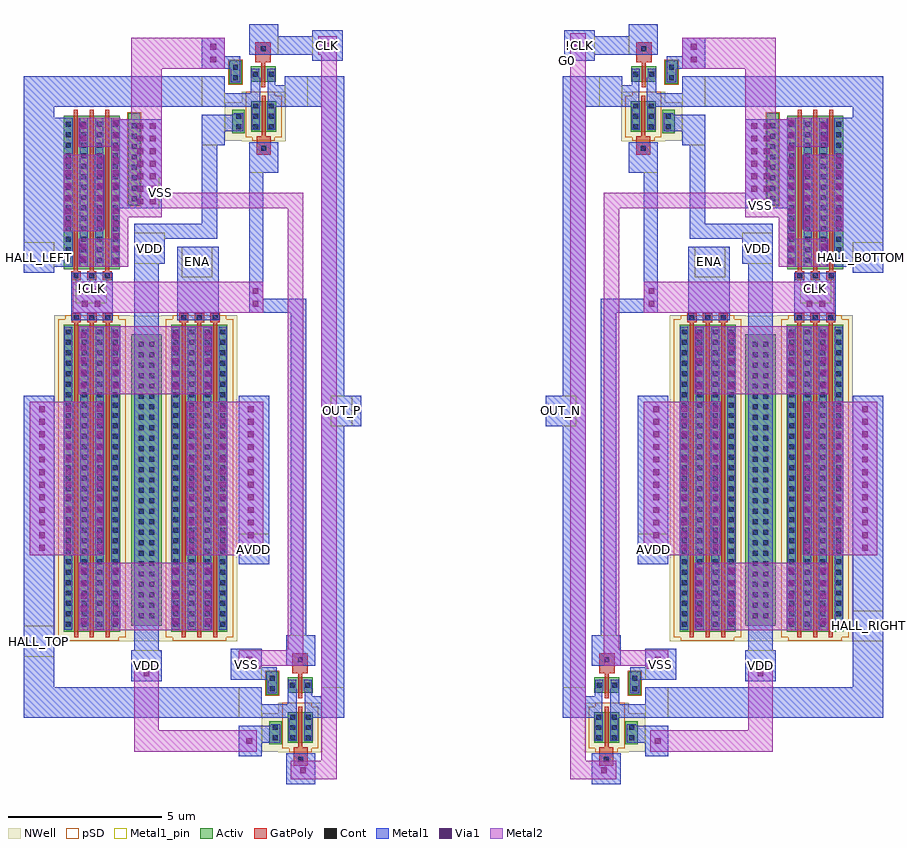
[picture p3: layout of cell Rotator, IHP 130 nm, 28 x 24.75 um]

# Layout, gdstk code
from math import pi, radians
import gdstk
lib = gdstk.Library(unit=1e-6, precision=1e-09)
def R(c, l, rs):  # rectangles x0, y0, x1, y1
    for r in rs: c.add(gdstk.rectangle(r[:2], r[2:], *l))
def A(c, l, x, y, w, h, nx, ny, dx, dy):  # array of equal rectangles
    R(c, l, [(x+i*dx, y+j*dy, x+i*dx+w, y+j*dy+h) for i in range(nx) for j in range(ny)])
Activ = (1, 0)
GatPoly = (5, 0)
Cont = (6, 0)
Metal1 = (8, 0)
Metal1_pin = (8, 2)
Metal2 = (10, 0)
pSD = (14, 0)
Via1 = (19, 0)
NWell = (31, 0)

sg13_lv_pmos_cv6q76 = lib.new_cell('sg13_lv_pmos_CV6Q76')
R(sg13_lv_pmos_cv6q76, Activ, [(-0.915,-5.095,0.915,4.905)])
A(sg13_lv_pmos_cv6q76, GatPoly, -0.575, -5.275, 0.13, 10.25, 3, 1, 0.51, 0)
A(sg13_lv_pmos_cv6q76, GatPoly, -0.66, 4.975, 0.3, 0.3, 3, 1, 0.51, 0)
A(sg13_lv_pmos_cv6q76, Cont, -0.845, -4.935, 0.16, 0.16, 4, 29, 0.51, 0.34)
A(sg13_lv_pmos_cv6q76, Cont, -0.59, 5.045, 0.16, 0.16, 3, 1, 0.51, 0)
A(sg13_lv_pmos_cv6q76, Metal1, -0.64, 5.045, 0.26, 0.16, 3, 1, 0.51, 0)
R(sg13_lv_pmos_cv6q76, Metal1, [(-0.895,-5.025,-0.635,-2.565), (-0.385,-5.025,-0.125,4.835), (0.125,-5.025,0.385,-2.565), (0.635,-5.025,0.895,4.835), (-0.915,-2.565,-0.615,2.375), (0.105,-2.565,0.405,2.375), (-0.895,2.375,-0.635,4.835), (0.125,2.375,0.385,4.835)])
R(sg13_lv_pmos_cv6q76, Metal2, [(-0.865,-2.605,-0.665,2.415), (0.155,-2.605,0.355,2.415)])
R(sg13_lv_pmos_cv6q76, pSD, [(-0.875,-5.395,0.875,-5.275), (-1.095,-5.275,1.095,5.085), (-0.875,5.085,0.875,5.205)])
A(sg13_lv_pmos_cv6q76, Via1, -0.86, -2.445, 0.19, 0.19, 1, 12, 0, 0.41)
A(sg13_lv_pmos_cv6q76, Via1, 0.16, -2.445, 0.19, 0.19, 1, 12, 0, 0.41)
R(sg13_lv_pmos_cv6q76, NWell, [(-1.225,-5.405,1.225,5.215)])
sg13_lv_pmos_cv6q76.add(gdstk.Label('D0', (-0.765,-0.095), layer=8, texttype=25))
sg13_lv_pmos_cv6q76.add(gdstk.Label('G0', (-0.51,5.125), layer=8, texttype=25))
sg13_lv_pmos_cv6q76.add(gdstk.Label('S1', (-0.255,-0.095), layer=8, texttype=25))
sg13_lv_pmos_cv6q76.add(gdstk.Label('G1', (0,5.125), layer=8, texttype=25))
sg13_lv_pmos_cv6q76.add(gdstk.Label('D2', (0.255,-0.095), layer=8, texttype=25))
sg13_lv_pmos_cv6q76.add(gdstk.Label('S2', (0.765,-0.095), layer=8, texttype=25))
sg13_lv_pmos_cv6q76.add(gdstk.Label('G2', (0.51,5.125), layer=8, texttype=25))

sg13_lv_pmos_qv6q7w = lib.new_cell('sg13_lv_pmos_QV6Q7W')
R(sg13_lv_pmos_qv6q7w, Activ, [(-0.915,-5.095,0.915,4.905)])
A(sg13_lv_pmos_qv6q7w, GatPoly, -0.575, -5.275, 0.13, 10.25, 3, 1, 0.51, 0)
A(sg13_lv_pmos_qv6q7w, GatPoly, -0.66, 4.975, 0.3, 0.3, 3, 1, 0.51, 0)
A(sg13_lv_pmos_qv6q7w, Cont, -0.845, -4.935, 0.16, 0.16, 4, 29, 0.51, 0.34)
A(sg13_lv_pmos_qv6q7w, Cont, -0.59, 5.045, 0.16, 0.16, 3, 1, 0.51, 0)
A(sg13_lv_pmos_qv6q7w, Metal1, -0.64, 5.045, 0.26, 0.16, 3, 1, 0.51, 0)
R(sg13_lv_pmos_qv6q7w, Metal1, [(-0.895,-5.025,-0.635,4.835), (-0.385,-5.025,-0.125,-2.565), (0.125,-5.025,0.385,4.835), (0.635,-5.025,0.895,-2.565), (-0.405,-2.565,-0.105,2.375), (0.615,-2.565,0.915,2.375), (-0.385,2.375,-0.125,4.835), (0.635,2.375,0.895,4.835)])
R(sg13_lv_pmos_qv6q7w, Metal2, [(-0.355,-2.605,-0.155,2.415), (0.665,-2.605,0.865,2.415)])
R(sg13_lv_pmos_qv6q7w, pSD, [(-0.875,-5.395,0.875,-5.275), (-1.095,-5.275,1.095,5.085), (-0.875,5.085,0.875,5.205)])
A(sg13_lv_pmos_qv6q7w, Via1, -0.35, -2.445, 0.19, 0.19, 1, 12, 0, 0.41)
A(sg13_lv_pmos_qv6q7w, Via1, 0.67, -2.445, 0.19, 0.19, 1, 12, 0, 0.41)
R(sg13_lv_pmos_qv6q7w, NWell, [(-1.225,-5.405,1.225,5.215)])
sg13_lv_pmos_qv6q7w.add(gdstk.Label('D0', (-0.765,-0.095), layer=8, texttype=25))
sg13_lv_pmos_qv6q7w.add(gdstk.Label('G0', (-0.51,5.125), layer=8, texttype=25))
sg13_lv_pmos_qv6q7w.add(gdstk.Label('S1', (-0.255,-0.095), layer=8, texttype=25))
sg13_lv_pmos_qv6q7w.add(gdstk.Label('G1', (0,5.125), layer=8, texttype=25))
sg13_lv_pmos_qv6q7w.add(gdstk.Label('D2', (0.255,-0.095), layer=8, texttype=25))
sg13_lv_pmos_qv6q7w.add(gdstk.Label('S2', (0.765,-0.095), layer=8, texttype=25))
sg13_lv_pmos_qv6q7w.add(gdstk.Label('G2', (0.51,5.125), layer=8, texttype=25))

sg13_lv_pmos_ldakwr = lib.new_cell('sg13_lv_pmos_LDAKWR')
R(sg13_lv_pmos_ldakwr, Activ, [(-0.405,-0.5,0.405,0.5)])
R(sg13_lv_pmos_ldakwr, GatPoly, [(-0.065,-0.68,0.065,0.68)])
A(sg13_lv_pmos_ldakwr, Cont, -0.335, -0.42, 0.16, 0.16, 1, 3, 0, 0.34)
A(sg13_lv_pmos_ldakwr, Cont, 0.175, -0.42, 0.16, 0.16, 1, 3, 0, 0.34)
R(sg13_lv_pmos_ldakwr, Metal1, [(-0.385,-0.43,-0.125,0.43), (0.125,-0.43,0.385,0.43)])
R(sg13_lv_pmos_ldakwr, pSD, [(-0.365,-0.8,0.365,-0.68), (-0.585,-0.68,0.585,0.68), (-0.365,0.68,0.365,0.8)])
R(sg13_lv_pmos_ldakwr, NWell, [(-0.715,-0.81,0.715,0.81)])
sg13_lv_pmos_ldakwr.add(gdstk.Label('D', (-0.255,0), layer=8, texttype=25))
sg13_lv_pmos_ldakwr.add(gdstk.Label('S', (0.255,0), layer=8, texttype=25))

sg13_lv_nmos_tcspjj = lib.new_cell('sg13_lv_nmos_TCSPJJ')
R(sg13_lv_nmos_tcspjj, Activ, [(-0.405,-0.25,0.405,0.25)])
R(sg13_lv_nmos_tcspjj, GatPoly, [(-0.065,-0.43,0.065,0.43)])
R(sg13_lv_nmos_tcspjj, Cont, [(-0.335,-0.08,-0.175,0.08), (0.175,-0.08,0.335,0.08)])
R(sg13_lv_nmos_tcspjj, Metal1, [(-0.385,-0.18,-0.125,0.18), (0.125,-0.18,0.385,0.18)])
sg13_lv_nmos_tcspjj.add(gdstk.Label('D', (-0.255,0), layer=8, texttype=25))
sg13_lv_nmos_tcspjj.add(gdstk.Label('S', (0.255,0), layer=8, texttype=25))

cmos_transmission_gate = lib.new_cell('CMOS_transmission_gate')
R(cmos_transmission_gate, Activ, [(2.8,-9.25,3.2,-8.5), (2.9,-7.65,3.3,-6.9)])
R(cmos_transmission_gate, GatPoly, [(3.65,-9.85,4.15,-9.2), (3.7,-6.8,4.15,-6.2)])
R(cmos_transmission_gate, Cont, [(3.82,-9.73,3.98,-9.57), (2.92,-9.125,3.08,-8.965), (2.92,-8.785,3.08,-8.625), (3.02,-7.525,3.18,-7.365), (3.02,-7.185,3.18,-7.025), (3.845,-6.48,4.005,-6.32)])
R(cmos_transmission_gate, Metal1, [(3.45,-10.45,4.4,-9.45), (1.9,-10,2.65,-9.4), (1.9,-9.4,3.15,-9), (2.85,-9,3.15,-8.55), (1.9,-8.75,2.65,-8.2), (4.6,-8.75,5.35,-8.45), (3.5,-8.7,3.8,-8.2), (4.05,-8.7,4.3,-8.45), (4.05,-8.45,5.35,-7.8), (1.9,-8.2,3.8,-7.8), (1.9,-7.8,3.55,-7.75), (4.3,-7.8,5.35,-7.75), (2.95,-7.55,3.25,-7.5), (1.9,-7.5,3.25,-6.95), (1.9,-6.95,2.65,-6.5), (3.45,-6.6,4.4,-5.6)])
A(cmos_transmission_gate, Metal1_pin, 1.9, -10, 0.75, 1, 1, 3, 0, 1.25)
R(cmos_transmission_gate, Metal1_pin, [(3.45,-10.45,4.4,-9.45), (4.6,-8.75,5.35,-7.75), (3.45,-6.6,4.4,-5.6)])
R(cmos_transmission_gate, pSD, [(2.77,-9.28,3.23,-8.47), (3.33,-8.24,3.55,-8.12)])
R(cmos_transmission_gate, NWell, [(2.65,-7.9,3.2,-7.75), (2.65,-7.75,3.45,-7.6), (2.65,-7.6,3.3,-6.9), (3.35,-7.6,3.45,-6.9), (2.65,-6.9,3.45,-6.65)])
cmos_transmission_gate.add(gdstk.Reference(sg13_lv_pmos_ldakwr, (3.915,-7.44)))
cmos_transmission_gate.add(gdstk.Reference(sg13_lv_nmos_tcspjj, (3.905,-8.82)))
cmos_transmission_gate.add(gdstk.Label('!Control', (3.925,-6.1), layer=8, texttype=25))
cmos_transmission_gate.add(gdstk.Label('vdd', (2.275,-7), layer=8, texttype=25))
cmos_transmission_gate.add(gdstk.Label('Vin', (2.275,-8.25), layer=8, texttype=25))
cmos_transmission_gate.add(gdstk.Label('Vout', (4.975,-8.25), layer=8, texttype=25))
cmos_transmission_gate.add(gdstk.Label('gnd', (2.275,-9.5), layer=8, texttype=25))
cmos_transmission_gate.add(gdstk.Label('Control', (3.925,-9.95), layer=8, texttype=25))

sg13_lv_nmos_cg6yds = lib.new_cell('sg13_lv_nmos_CG6YDS')
R(sg13_lv_nmos_cg6yds, Activ, [(-0.915,-2.595,0.915,2.405)])
A(sg13_lv_nmos_cg6yds, GatPoly, -0.575, -2.775, 0.13, 5.25, 3, 1, 0.51, 0)
A(sg13_lv_nmos_cg6yds, GatPoly, -0.66, 2.475, 0.3, 0.3, 3, 1, 0.51, 0)
A(sg13_lv_nmos_cg6yds, Cont, -0.845, -2.385, 0.16, 0.16, 4, 14, 0.51, 0.34)
A(sg13_lv_nmos_cg6yds, Cont, -0.59, 2.545, 0.16, 0.16, 3, 1, 0.51, 0)
A(sg13_lv_nmos_cg6yds, Metal1, -0.64, 2.545, 0.26, 0.16, 3, 1, 0.51, 0)
R(sg13_lv_nmos_cg6yds, Metal1, [(-0.895,-2.525,-0.635,-1.315), (-0.385,-2.525,-0.125,2.335), (0.125,-2.525,0.385,-1.315), (0.635,-2.525,0.895,2.335), (-0.915,-1.315,-0.615,1.125), (0.105,-1.315,0.405,1.125), (-0.895,1.125,-0.635,2.335), (0.125,1.125,0.385,2.335)])
R(sg13_lv_nmos_cg6yds, Metal2, [(-0.865,-1.355,-0.665,1.165), (0.155,-1.355,0.355,1.165)])
A(sg13_lv_nmos_cg6yds, Via1, -0.86, -1.215, 0.19, 0.19, 1, 6, 0, 0.41)
A(sg13_lv_nmos_cg6yds, Via1, 0.16, -1.215, 0.19, 0.19, 1, 6, 0, 0.41)
sg13_lv_nmos_cg6yds.add(gdstk.Label('D0', (-0.765,-0.095), layer=8, texttype=25))
sg13_lv_nmos_cg6yds.add(gdstk.Label('G0', (-0.51,2.625), layer=8, texttype=25))
sg13_lv_nmos_cg6yds.add(gdstk.Label('S1', (-0.255,-0.095), layer=8, texttype=25))
sg13_lv_nmos_cg6yds.add(gdstk.Label('G1', (0,2.625), layer=8, texttype=25))
sg13_lv_nmos_cg6yds.add(gdstk.Label('D2', (0.255,-0.095), layer=8, texttype=25))
sg13_lv_nmos_cg6yds.add(gdstk.Label('S2', (0.765,-0.095), layer=8, texttype=25))
sg13_lv_nmos_cg6yds.add(gdstk.Label('G2', (0.51,2.625), layer=8, texttype=25))

rotator = lib.new_cell('Rotator')
R(rotator, Activ, [(-10.5,-28.5,-9.5,-19), (9.5,-28.5,10.5,-19), (-10.6,-14.8,-10.2,-11.8), (10.2,-14.8,10.6,-11.8)])
A(rotator, Cont, -10.25, -28.25, 0.16, 0.16, 1, 27, 0, 0.34)
A(rotator, Cont, -9.91, -28.25, 0.16, 0.16, 1, 27, 0, 0.34)
A(rotator, Cont, 9.75, -28.25, 0.16, 0.16, 1, 27, 0, 0.34)
A(rotator, Cont, 10.09, -28.25, 0.16, 0.16, 1, 27, 0, 0.34)
A(rotator, Cont, -10.48, -14.67, 0.16, 0.16, 1, 8, 0, 0.34)
A(rotator, Cont, 10.32, -14.67, 0.16, 0.16, 1, 8, 0, 0.34)
R(rotator, Metal1, [(-5.25,-33.4,-4.6,-33.05), (4.6,-33.4,5.25,-33.05), (-5.2,-33.05,-4.6,-33), (4.6,-33.05,5.2,-33), (-6.8,-32.5,-6.5,-32), (6.5,-32.5,6.8,-32), (-14,-31.5,-7,-30.5), (7,-31.5,14,-30.5), (-14,-30.5,-13,-21), (-4.3,-30.5,-3.55,-22), (3.55,-30.5,4.3,-22), (13,-30.5,14,-21), (-10.5,-30.3,-9.5,-29.3), (9.5,-30.3,10.5,-29.3), (-7.25,-30.25,-6.25,-29.25), (6.25,-30.25,7.25,-29.25), (-10.4,-29.3,-9.6,-16.7), (9.6,-29.3,10.4,-16.7), (-5.3,-28.8,-4.8,-18.3), (4.8,-28.8,5.3,-18.3), (-12.2,-28.65,-11.9,-26.45), (-11.15,-28.65,-10.85,-26.45), (10.85,-28.65,11.15,-26.45), (11.9,-28.65,12.2,-26.45), (-9.15,-28.55,-8.95,-26.5), (-8.1,-28.55,-7.9,-26.5), (7.9,-28.55,8.1,-26.5), (8.95,-28.55,9.15,-26.5), (-7,-26.5,-6,-21), (6,-26.5,7,-21), (-4.3,-22,-3,-21), (3,-22,4.3,-21), (-4.3,-21,-3.55,-11.6), (3.55,-21,4.3,-11.6), (-12.2,-20.95,-11.9,-18.75), (-11.15,-20.95,-10.85,-18.75), (10.85,-20.95,11.15,-18.75), (11.9,-20.95,12.2,-18.75), (-9.15,-20.9,-8.95,-18.85), (-8.1,-20.9,-7.9,-18.85), (7.9,-20.9,8.1,-18.85), (8.95,-20.9,9.15,-18.85), (-12.45,-18.55,-11.1,-17), (-9,-18.55,-7.65,-16.15), (7.65,-18.55,9,-16.15), (11.1,-18.55,12.45,-17), (-6.65,-18.3,-4.8,-17.85), (4.8,-18.3,6.65,-17.85), (-6.65,-17.85,-6.2,-13.75), (6.2,-17.85,6.65,-13.75), (-14,-17,-13,-16.8), (13,-17,14,-16.8), (-14,-16.8,-12.4,-11.95), (12.4,-16.8,14,-11.95), (-12.15,-16.75,-11.95,-15.95), (-11.1,-16.75,-10.9,-14.9), (10.9,-16.75,11.1,-14.9), (11.95,-16.75,12.15,-15.95), (-10.4,-16.7,-9.4,-15.9), (9.4,-16.7,10.4,-15.9), (-10.4,-15.9,-7.7,-15.4), (7.7,-15.9,10.4,-15.4), (-8.2,-15.4,-7.7,-12.8), (7.7,-15.4,8.2,-12.8), (-11.1,-14.9,-9.5,-12), (9.5,-14.9,11.1,-12), (-12.15,-12.85,-11.95,-12), (11.95,-12.85,12.15,-12), (-14,-11.95,-13,-11.6), (13,-11.95,14,-11.6), (-14,-11.6,-8.2,-10.6), (-4.8,-11.6,-3.55,-10.6), (3.55,-11.6,4.8,-10.6), (8.2,-11.6,14,-10.6), (-8.1,-10.25,-7.55,-9.45), (7.55,-10.25,8.1,-9.45), (-4.6,-10.1,-3.6,-9.9), (3.6,-10.1,4.6,-9.9), (-5.7,-9.9,-3.6,-9.3), (3.6,-9.9,5.7,-9.3), (-4.6,-9.3,-3.6,-9.1), (3.6,-9.3,4.6,-9.1)])
R(rotator, Metal1_pin, [(-10.5,-30.3,-9.5,-29.3), (9.5,-30.3,10.5,-29.3), (-7.25,-30.25,-6.25,-29.25), (6.25,-30.25,7.25,-29.25), (-14,-29.5,-13,-28.5), (13,-29,14,-28), (-7,-26.5,-6,-25.5), (6,-26.5,7,-25.5), (-4,-22,-3.3,-21), (3,-22,4,-21), (-12.3,-18,-11.3,-17), (11.3,-18,12.3,-17), (-8.85,-17.15,-7.85,-16.15), (7.85,-17.15,8.85,-16.15), (-14,-17,-13,-16), (13,-17,14,-16), (-10.4,-16.7,-9.4,-15.7), (9.4,-16.7,10.4,-15.7), (-9.6,-14.9,-9.5,-13.9), (9.5,-14.9,10.5,-14.7), (-4.6,-10.1,-3.6,-9.1), (3.6,-10.1,4.6,-9.1)])
R(rotator, Metal2, [(-5.3,-33.5,-3.8,-32.9), (3.8,-33.5,5.3,-32.9), (-4.3,-32.9,-3.8,-9.9), (3.8,-32.9,4.3,-9.2), (-10.4,-32.6,-6.4,-31.9), (6.4,-32.6,10.4,-31.9), (-10.4,-31.9,-9.6,-29.8), (9.6,-31.9,10.4,-29.8), (-7,-29.9,-6.3,-29.8), (6.3,-29.9,7,-29.8), (-7,-29.8,-4.9,-29.3), (4.9,-29.8,7,-29.3), (-5.4,-29.3,-4.9,-14.9), (4.9,-29.3,5.4,-14.9), (-12.2,-28.65,-7.85,-26.45), (7.85,-28.65,12.2,-26.45), (-13.8,-26.2,-11.4,-21.2), (-8.7,-26.2,-6.2,-21.2), (6.2,-26.2,8.7,-21.2), (11.4,-26.2,13.8,-21.2), (-12.2,-20.95,-7.85,-18.75), (7.85,-20.95,12.2,-18.75), (-12.4,-18.3,-6.2,-17.3), (6.2,-18.3,12.4,-17.3), (-12.2,-16.8,-10.6,-15.9), (10.6,-16.8,12.2,-15.9), (-11.15,-15.9,-10.6,-15.2), (10.6,-15.9,11.15,-15.2), (-12.7,-15.65,-11.4,-13.15), (11.4,-15.65,12.7,-13.15), (-11.15,-15.2,-9.5,-14.9), (9.5,-15.2,11.15,-14.9), (-11.15,-14.9,-4.9,-14.4), (4.9,-14.9,11.15,-14.4), (-11.15,-14.4,-9.5,-12.9), (9.5,-14.4,11.15,-12.9), (-12.2,-12.9,-9.5,-12), (9.5,-12.9,12.2,-12), (-12.2,-12,-10.85,-11.95), (-10.5,-12,-9.5,-10.35), (9.5,-12,10.5,-10.35), (10.85,-12,12.2,-11.95), (-10.5,-10.35,-7.45,-9.35), (7.45,-10.35,10.5,-9.35), (-4.4,-9.9,-3.8,-9.3)])
R(rotator, pSD, [(-10.63,-14.83,-10.17,-11.77), (10.17,-14.83,10.63,-11.77)])
A(rotator, Via1, -12.135, -28.445, 0.19, 0.19, 1, 5, 0, 0.41)
A(rotator, Via1, -11.085, -28.445, 0.19, 0.19, 1, 5, 0, 0.41)
A(rotator, Via1, 10.895, -28.445, 0.19, 0.19, 1, 5, 0, 0.41)
A(rotator, Via1, 11.945, -28.445, 0.19, 0.19, 1, 5, 0, 0.41)
A(rotator, Via1, -9.145, -28.44, 0.19, 0.19, 1, 5, 0, 0.41)
A(rotator, Via1, -8.095, -28.44, 0.19, 0.19, 1, 5, 0, 0.41)
A(rotator, Via1, 7.905, -28.44, 0.19, 0.19, 1, 5, 0, 0.41)
A(rotator, Via1, 8.955, -28.44, 0.19, 0.19, 1, 5, 0, 0.41)
A(rotator, Via1, -13.495, -26.05, 0.19, 0.19, 1, 12, 0, 0.41)
A(rotator, Via1, -6.695, -26.05, 0.19, 0.19, 1, 12, 0, 0.41)
A(rotator, Via1, 6.505, -26.05, 0.19, 0.19, 1, 12, 0, 0.41)
A(rotator, Via1, 13.305, -26.05, 0.19, 0.19, 1, 12, 0, 0.41)
A(rotator, Via1, -9.145, -20.79, 0.19, 0.19, 1, 5, 0, 0.41)
A(rotator, Via1, -8.095, -20.79, 0.19, 0.19, 1, 5, 0, 0.41)
A(rotator, Via1, 7.905, -20.79, 0.19, 0.19, 1, 5, 0, 0.41)
A(rotator, Via1, 8.955, -20.79, 0.19, 0.19, 1, 5, 0, 0.41)
A(rotator, Via1, -12.145, -20.765, 0.19, 0.19, 1, 5, 0, 0.41)
A(rotator, Via1, -11.095, -20.765, 0.19, 0.19, 1, 5, 0, 0.41)
A(rotator, Via1, 10.905, -20.765, 0.19, 0.19, 1, 5, 0, 0.41)
A(rotator, Via1, 11.955, -20.765, 0.19, 0.19, 1, 5, 0, 0.41)
A(rotator, Via1, -11.095, -16.725, 0.19, 0.19, 1, 12, 0, 0.41)
A(rotator, Via1, 10.905, -16.725, 0.19, 0.19, 1, 12, 0, 0.41)
A(rotator, Via1, -10.3, -14.775, 0.19, 0.19, 1, 7, 0, 0.41)
A(rotator, Via1, -9.89, -14.775, 0.19, 0.19, 1, 7, 0, 0.41)
A(rotator, Via1, 9.7, -14.775, 0.19, 0.19, 1, 7, 0, 0.41)
A(rotator, Via1, 10.11, -14.775, 0.19, 0.19, 1, 7, 0, 0.41)
R(rotator, Via1, [(-4.995,-33.295,-4.805,-33.105), (4.805,-33.295,4.995,-33.105), (-6.745,-32.345,-6.555,-32.155), (6.555,-32.345,6.745,-32.155), (-10.095,-30.145,-9.905,-29.955), (9.905,-30.145,10.095,-29.955), (-6.745,-29.695,-6.555,-29.505), (6.555,-29.695,6.745,-29.505), (-12.1,-18.1,-11.91,-17.91), (-11.69,-18.1,-11.5,-17.91), (-6.545,-18.1,-6.355,-17.91), (6.355,-18.1,6.545,-17.91), (11.5,-18.1,11.69,-17.91), (11.91,-18.1,12.1,-17.91), (-12.1,-17.69,-11.91,-17.5), (-11.69,-17.69,-11.5,-17.5), (-6.545,-17.69,-6.355,-17.5), (6.355,-17.69,6.545,-17.5), (11.5,-17.69,11.69,-17.5), (11.91,-17.69,12.1,-17.5), (-12.145,-16.65,-11.955,-16.46), (11.955,-16.65,12.145,-16.46), (-12.145,-16.24,-11.955,-16.05), (11.955,-16.24,12.145,-16.05), (-12.145,-12.725,-11.955,-12.535), (11.955,-12.725,12.145,-12.535), (-12.145,-12.315,-11.955,-12.125), (11.955,-12.315,12.145,-12.125), (-7.92,-10.15,-7.73,-9.96), (7.73,-10.15,7.92,-9.96), (-7.92,-9.74,-7.73,-9.55), (7.73,-9.74,7.92,-9.55), (-4.195,-9.695,-4.005,-9.505), (3.955,-9.695,4.145,-9.505)])
R(rotator, NWell, [(-11,-29,-9.45,-18.4), (9.45,-29,11,-18.4)])
rotator.add(gdstk.Reference(sg13_lv_pmos_cv6q76, (11.775,-23.595), rotation=pi, x_reflection=True))
rotator.add(gdstk.Reference(sg13_lv_pmos_qv6q7w, (-8.275,-23.595)))
rotator.add(gdstk.Reference(sg13_lv_pmos_cv6q76, (-11.775,-23.595)))
rotator.add(gdstk.Reference(cmos_transmission_gate, (-8.9,-39.25), x_reflection=True))
rotator.add(gdstk.Reference(cmos_transmission_gate, (10.1,-19.35), rotation=pi))
rotator.add(gdstk.Reference(cmos_transmission_gate, (-10.1,-19.35), x_reflection=True))
rotator.add(gdstk.Reference(cmos_transmission_gate, (8.9,-39.25), rotation=pi))
rotator.add(gdstk.Reference(sg13_lv_pmos_qv6q7w, (8.275,-23.595), rotation=pi, x_reflection=True))
rotator.add(gdstk.Reference(sg13_lv_nmos_cg6yds, (11.785,-14.475), rotation=pi))
rotator.add(gdstk.Reference(sg13_lv_nmos_cg6yds, (-11.785,-14.475), x_reflection=True))
rotator.add(gdstk.Label('VDD', (-10,-29.8), layer=8, texttype=25))
rotator.add(gdstk.Label('VDD', (9.9,-16.2), layer=8, texttype=25))
rotator.add(gdstk.Label('VDD', (10,-29.8), layer=8, texttype=25))
rotator.add(gdstk.Label('VDD', (-9.9,-16.2), layer=8, texttype=25))
rotator.add(gdstk.Label('VSS', (10,-14.8), layer=8, texttype=25))
rotator.add(gdstk.Label('VSS', (6.75,-29.75), layer=8, texttype=25))
rotator.add(gdstk.Label('VSS', (-9.55,-14.4), layer=8, texttype=25))
rotator.add(gdstk.Label('VSS', (-6.75,-29.75), layer=8, texttype=25))
rotator.add(gdstk.Label('G0', (3.7,-10.095), layer=8, texttype=25))
rotator.add(gdstk.Label('CLK', (11.8,-17.5), layer=8, texttype=25))
rotator.add(gdstk.Label('CLK', (-4.1,-9.6), layer=8, texttype=25))
rotator.add(gdstk.Label('!CLK', (4.1,-9.6), layer=8, texttype=25))
rotator.add(gdstk.Label('!CLK', (-11.8,-17.5), layer=8, texttype=25))
rotator.add(gdstk.Label('G1', (3.7,-9.585), layer=8, texttype=25))
rotator.add(gdstk.Label('OUT_N', (3.5,-21.5), layer=8, texttype=25))
rotator.add(gdstk.Label('OUT_P', (-3.65,-21.5), layer=8, texttype=25))
rotator.add(gdstk.Label('HALL_LEFT', (-13.5,-16.5), layer=8, texttype=25))
rotator.add(gdstk.Label('AVDD', (6.5,-26), layer=8, texttype=25))
rotator.add(gdstk.Label('AVDD', (-6.5,-26), layer=8, texttype=25))
rotator.add(gdstk.Label('ENA', (8.35,-16.65), layer=8, texttype=25))
rotator.add(gdstk.Label('ENA', (-8.35,-16.65), layer=8, texttype=25))
rotator.add(gdstk.Label('HALL_BOTTOM', (13.5,-16.5), layer=8, texttype=25))
rotator.add(gdstk.Label('HALL_RIGHT', (13.5,-28.5), layer=8, texttype=25))
rotator.add(gdstk.Label('HALL_TOP', (-13.5,-29), layer=8, texttype=25))

lib.write_gds('Rotator.gds')
